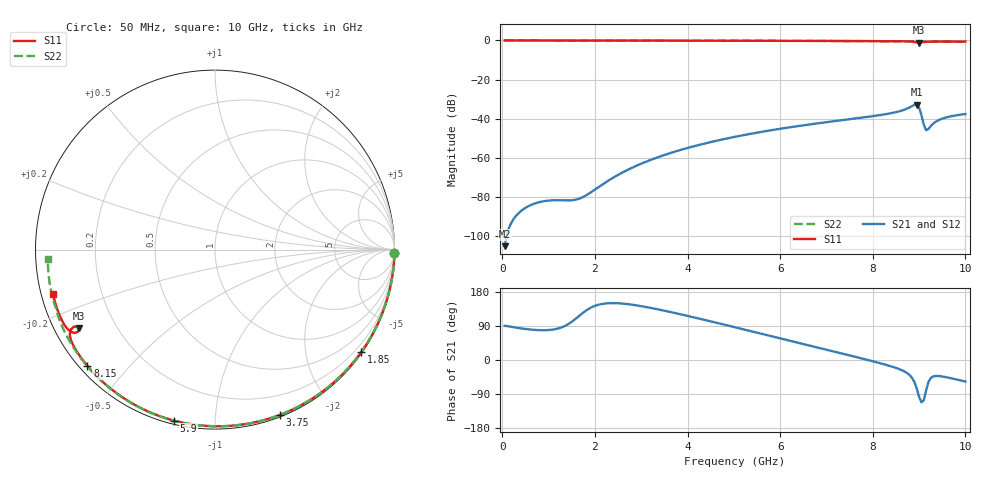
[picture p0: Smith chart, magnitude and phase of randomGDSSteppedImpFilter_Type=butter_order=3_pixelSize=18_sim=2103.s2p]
! freq	dB(S11)	phase(S11)	dB(S12)	phase(S12)
!  dB(S21)	phase(S21)	dB(S22)	phase(S22)
!S-par simulation data
#  GHz  S  DB  R 50
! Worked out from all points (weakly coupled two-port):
!   200 points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, 50 MHz to 10 GHz, reference 50 ohm
!   highest |S21| = -32.78 dB at 8.95 GHz (marker M1); lowest = -105.2 dB at 50 MHz (marker M2)
!   lowest |S11| = -1.2 dB at 9 GHz (marker M3), VSWR 15.13, Z = 3.54 - j13.3 ohm
!   |S11| at or under -10 dB: nowhere
!   |S22| runs from -0.6 to 0.0 dB; largest |S21 - S12| = 0
!   S11 on the Smith chart (normalised r, x): 50 MHz: open; 1.85 GHz: 0.03, -3.18; 3.75 GHz: 0.02, -1.47; 5.9 GHz: 0.02, -0.79; 8.15 GHz: 0.02, -0.39; 10 GHz: 0.03, -0.14
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0.05  -0.00 -1.0  -105.18 90.2  -105.18 90.2  -0.00 -1.0
0.85  -0.02 -16.2  -82.40 78.6  -82.40 78.6  -0.02 -16.6
1.75  -0.04 -33.1  -79.98 125.3  -79.98 125.3  -0.04 -33.8
1.85  -0.04 -34.9  -78.62 133.8  -78.62 133.8  -0.05 -35.7
2.6  -0.06 -48.5  -67.45 148.8  -67.45 148.8  -0.06 -49.7
3.4  -0.08 -62.6  -59.38 132.7  -59.38 132.7  -0.09 -64.2
3.75  -0.09 -68.6  -56.68 123.4  -56.68 123.4  -0.10 -70.4
5.05  -0.14 -90.1  -49.14 85.7  -49.14 85.7  -0.14 -92.8
5.9  -0.18 -103.5  -45.54 60.2  -45.54 60.2  -0.19 -106.9
6.7  -0.23 -115.7  -42.73 36.1  -42.73 36.1  -0.24 -120.1
8.15  -0.34 -137.7  -38.18 -8.2  -38.18 -8.2  -0.36 -144.0
8.35  -0.36 -140.8  -37.40 -15.0  -37.40 -15.0  -0.38 -147.4
8.8  -0.51 -148.9  -34.19 -40.3  -34.19 -40.3  -0.43 -155.2
8.95  -0.99 -151.4  -32.78 -75.5  -32.78 -75.5  -0.47 -157.9
9  -1.15 -150.2  -34.30 -97.0  -34.30 -97.0  -0.49 -158.7
9.05  -1.02 -149.0  -38.11 -111.5  -38.11 -111.5  -0.50 -159.4
9.1  -0.83 -149.3  -42.94 -107.0  -42.94 -107.0  -0.50 -160.2
9.15  -0.70 -150.1  -45.88 -81.8  -45.88 -81.8  -0.50 -161.1
9.2  -0.63 -151.1  -45.32 -58.6  -45.32 -58.6  -0.50 -162.0
9.35  -0.55 -153.9  -41.71 -42.3  -41.71 -42.3  -0.51 -164.7
9.45  -0.54 -155.6  -40.43 -42.7  -40.43 -42.7  -0.52 -166.5
10  -0.57 -164.5  -37.61 -56.7  -37.61 -56.7  -0.60 -176.8
